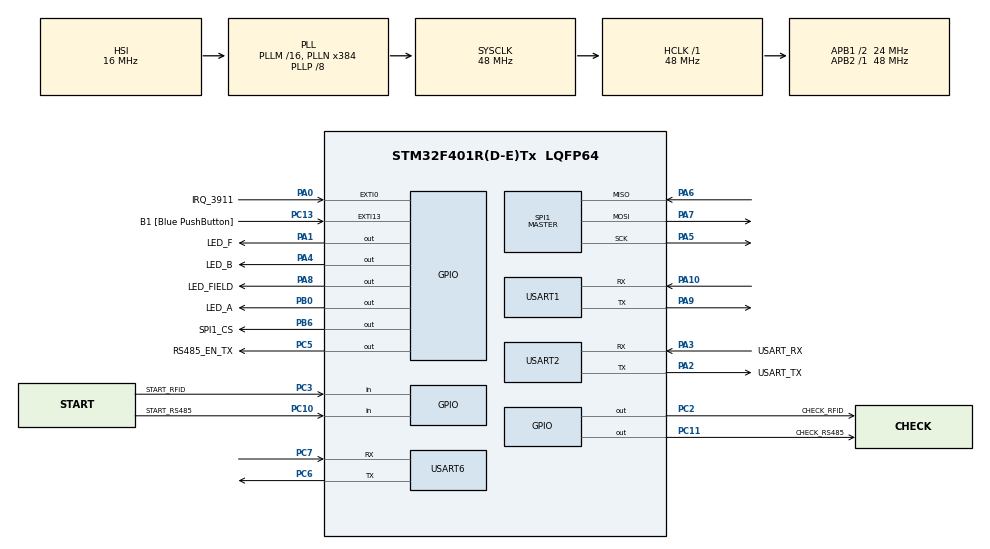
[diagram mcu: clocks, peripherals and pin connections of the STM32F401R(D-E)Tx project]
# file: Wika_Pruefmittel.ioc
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Dma.Request0=USART1_RX
Dma.Request1=USART2_RX
Dma.Request2=USART6_RX
Dma.USART1_RX.0.Direction=DMA_PERIPH_TO_MEMORY
Dma.USART1_RX.0.FIFOMode=DMA_FIFOMODE_DISABLE
Dma.USART1_RX.0.Instance=DMA2_Stream2
Dma.USART1_RX.0.MemDataAlignment=DMA_MDATAALIGN_BYTE
Dma.USART1_RX.0.MemInc=DMA_MINC_ENABLE
Dma.USART1_RX.0.Mode=DMA_NORMAL
Dma.USART1_RX.0.PeriphDataAlignment=DMA_PDATAALIGN_BYTE
Dma.USART1_RX.0.PeriphInc=DMA_PINC_DISABLE
Dma.USART1_RX.0.Priority=DMA_PRIORITY_LOW
Dma.USART2_RX.1.Direction=DMA_PERIPH_TO_MEMORY
Dma.USART2_RX.1.FIFOMode=DMA_FIFOMODE_DISABLE
Dma.USART2_RX.1.Instance=DMA1_Stream5
Dma.USART2_RX.1.MemDataAlignment=DMA_MDATAALIGN_BYTE
Dma.USART2_RX.1.MemInc=DMA_MINC_ENABLE
Dma.USART2_RX.1.Mode=DMA_NORMAL
Dma.USART2_RX.1.PeriphDataAlignment=DMA_PDATAALIGN_BYTE
Dma.USART2_RX.1.PeriphInc=DMA_PINC_DISABLE
Dma.USART2_RX.1.Priority=DMA_PRIORITY_LOW
Dma.USART6_RX.2.Direction=DMA_PERIPH_TO_MEMORY
Dma.USART6_RX.2.FIFOMode=DMA_FIFOMODE_DISABLE
Dma.USART6_RX.2.Instance=DMA2_Stream1
Dma.USART6_RX.2.MemDataAlignment=DMA_MDATAALIGN_BYTE
Dma.USART6_RX.2.MemInc=DMA_MINC_ENABLE
Dma.USART6_RX.2.Mode=DMA_NORMAL
Dma.USART6_RX.2.PeriphDataAlignment=DMA_PDATAALIGN_BYTE
Dma.USART6_RX.2.PeriphInc=DMA_PINC_DISABLE
Dma.USART6_RX.2.Priority=DMA_PRIORITY_LOW
Mcu.Family=STM32F4
Mcu.Name=STM32F401R(D-E)Tx
Mcu.Package=LQFP64
NVIC.DMA1_Stream5_IRQn=true\:0\:0\:false\:false\:true\:false\:true\:true
NVIC.DMA2_Stream1_IRQn=true\:0\:0\:false\:false\:true\:false\:true\:true
NVIC.DMA2_Stream2_IRQn=true\:0\:0\:false\:false\:true\:false\:true\:true
NVIC.EXTI0_IRQn=true\:0\:0\:false\:false\:true\:true\:true\:true
NVIC.PriorityGroup=NVIC_PRIORITYGROUP_0
NVIC.USART1_IRQn=true\:0\:0\:false\:false\:true\:true\:true\:true
NVIC.USART2_IRQn=true\:0\:0\:false\:false\:true\:true\:true\:true
PA0-WKUP.GPIO_Label=IRQ_3911
PA0-WKUP.Signal=GPXTI0
PA1.GPIO_Label=LED_F
PA1.Signal=GPIO_Output
PA10.Mode=Asynchronous
PA10.Signal=USART1_RX
PA13.GPIO_Label=TMS
PA13.Mode=Serial_Wire
PA13.Signal=SYS_JTMS-SWDIO
PA14.GPIO_Label=TCK
PA14.Mode=Serial_Wire
PA14.Signal=SYS_JTCK-SWCLK
PA2.GPIO_Label=USART_TX
PA2.GPIO_Mode=GPIO_MODE_AF_PP
PA2.GPIO_PuPd=GPIO_NOPULL
PA2.GPIO_Speed=GPIO_SPEED_FREQ_LOW
PA2.Mode=Asynchronous
PA2.Signal=USART2_TX
PA3.GPIO_Label=USART_RX
PA3.GPIO_Mode=GPIO_MODE_AF_PP
PA3.GPIO_PuPd=GPIO_NOPULL
PA3.GPIO_Speed=GPIO_SPEED_FREQ_LOW
PA3.Mode=Asynchronous
PA3.Signal=USART2_RX
PA4.GPIO_Label=LED_B
PA4.Signal=GPIO_Output
PA5.Mode=Full_Duplex_Master
PA5.Signal=SPI1_SCK
PA6.Mode=Full_Duplex_Master
PA6.Signal=SPI1_MISO
PA7.Mode=Full_Duplex_Master
PA7.Signal=SPI1_MOSI
PA8.GPIO_Label=LED_FIELD
PA8.Signal=GPIO_Output
PA9.Mode=Asynchronous
PA9.Signal=USART1_TX
PB0.GPIO_Label=LED_A
PB0.Signal=GPIO_Output
PB3.GPIO_Label=SWO
PB3.Signal=SYS_JTDO-SWO
PB6.GPIO_Label=SPI1_CS
PB6.Signal=GPIO_Output
PC10.GPIO_Label=START_RS485
PC10.Signal=GPIO_Input
PC11.GPIO_Label=CHECK_RS485
PC11.Signal=GPIO_Output
PC13-ANTI_TAMP.GPIO_Label=B1 [Blue PushButton]
PC13-ANTI_TAMP.GPIO_ModeDefaultEXTI=GPIO_MODE_IT_FALLING
PC13-ANTI_TAMP.GPIO_PuPd=GPIO_NOPULL
PC13-ANTI_TAMP.Signal=GPXTI13
PC14-OSC32_IN.Mode=LSE-External-Oscillator
PC14-OSC32_IN.Signal=RCC_OSC32_IN
PC15-OSC32_OUT.Mode=LSE-External-Oscillator
PC15-OSC32_OUT.Signal=RCC_OSC32_OUT
PC2.GPIO_Label=CHECK_RFID
PC2.Signal=GPIO_Output
PC3.GPIO_Label=START_RFID
PC3.Signal=GPIO_Input
PC5.GPIO_Label=RS485_EN_TX
PC5.Signal=GPIO_Output
PC6.Mode=Asynchronous
PC6.Signal=USART6_TX
PC7.Mode=Asynchronous
PC7.Signal=USART6_RX
PH0\ -\ OSC_IN.Signal=RCC_OSC_IN
PH1\ -\ OSC_OUT.Signal=RCC_OSC_OUT
ProjectManager.HeapSize=0x200
ProjectManager.StackSize=0x400
ProjectManager.TargetToolchain=STM32CubeIDE
RCC.48MHZClocksFreq_Value=54857142.85714286
RCC.AHBFreq_Value=48000000
RCC.APB1CLKDivider=RCC_HCLK_DIV2
RCC.APB1Freq_Value=24000000
RCC.APB1TimFreq_Value=48000000
RCC.APB2Freq_Value=48000000
RCC.APB2TimFreq_Value=48000000
RCC.CortexFreq_Value=48000000
RCC.HCLKFreq_Value=48000000
RCC.HSE_VALUE=8000000
RCC.HSI_VALUE=16000000
RCC.PLLN=384
RCC.PLLP=RCC_PLLP_DIV8
RCC.PLLQ=7
RCC.SYSCLKFreq_VALUE=48000000
RCC.SYSCLKSource=RCC_SYSCLKSOURCE_PLLCLK
RCC.VCOOutputFreq_Value=384000000
SPI1.BaudRatePrescaler=SPI_BAUDRATEPRESCALER_16
SPI1.CLKPhase=SPI_PHASE_2EDGE
SPI1.Direction=SPI_DIRECTION_2LINES
SPI1.Mode=SPI_MODE_MASTER
SPI1.VirtualType=VM_MASTER
USART1.VirtualMode=VM_ASYNC
USART2.VirtualMode=VM_ASYNC
USART6.VirtualMode=VM_ASYNC
board=NUCLEO-F401RE

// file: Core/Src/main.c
/* USER CODE BEGIN Header */
/**
  ******************************************************************************
  * @file           : main.c
  * @brief          : Main program body
  ******************************************************************************
  * @attention
  *
  * Copyright (c) 2023 STMicroelectronics.
  * All rights reserved.
  *
  * This software is licensed under terms that can be found in the LICENSE file
  * in the root directory of this software component.
  * If no LICENSE file comes with this software, it is provided AS-IS.
  *
  ******************************************************************************
  */
/* USER CODE END Header */
#include "main.h"

/* USER CODE BEGIN Includes */
#include "utils.h"
//#include "platform.h"
#include "logger.h"
#include "st_errno.h"
#include "rfal_rf.h"
#include "rfal_analogConfig.h"
#include "rfal_nfc.h"
/* USER CODE END Includes */

/* USER CODE BEGIN PD */
#define RX_BUFFER_SIZE 	100
#define START_RS485_CMD "RS485_TEST_123"
#define RS485_ANSWER 	"RS485_TEST_SUCCESS"

#define TESTCYCLE_TIME 1000
/* USER CODE END PD */

SPI_HandleTypeDef hspi1;

UART_HandleTypeDef huart1;
UART_HandleTypeDef huart2;
UART_HandleTypeDef huart6;
DMA_HandleTypeDef hdma_usart1_rx;
DMA_HandleTypeDef hdma_usart2_rx;
DMA_HandleTypeDef hdma_usart6_rx;

/* USER CODE BEGIN PV */
/* Private variables ---------------------------------------------------------*/
#define SPI_TIMEOUT   1000
uint8_t globalCommProtectCnt = 0;
SPI_HandleTypeDef *pSpi = NULL;

/* P2P communication data */
static uint8_t NFCID3[] = {0x01, 0xFE, 0x03, 0x04, 0x05, 0x06, 0x07, 0x08, 0x09, 0x0A};
static uint8_t GB[] = {0x46, 0x66, 0x6d, 0x01, 0x01, 0x11, 0x02, 0x02, 0x07, 0x80, 0x03, 0x02, 0x00, 0x03, 0x04, 0x01, 0x32, 0x07, 0x01, 0x03};

static uint32_t rfidCycle_SysTick = 0;
static uint32_t rs485Cycle_SysTick = 0;

static uint8_t rxBuffer1[RX_BUFFER_SIZE];
static uint8_t rxBuffer2[RX_BUFFER_SIZE];
static uint8_t rxBuffer6[RX_BUFFER_SIZE];
/* USER CODE END PV */

void SystemClock_Config(void);
static void MX_GPIO_Init(void);
static void MX_DMA_Init(void);
static void MX_USART2_UART_Init(void);
static void MX_SPI1_Init(void);
static void MX_USART1_UART_Init(void);
static void MX_USART6_UART_Init(void);
/* USER CODE BEGIN PFP */

static void diesdasNotif( rfalNfcState st )
{
    uint8_t       devCnt;
    rfalNfcDevice *dev;

    if( st == RFAL_NFC_STATE_WAKEUP_MODE )
    {
        platformLog("Wake Up mode started \r\n");
    }
    else if( st == RFAL_NFC_STATE_POLL_TECHDETECT )
    {
        platformLog("Wake Up mode terminated. Polling for devices \r\n");
    }
    else if( st == RFAL_NFC_STATE_POLL_SELECT )
    {
        /* Multiple devices were found, activate first of them */
        rfalNfcGetDevicesFound( &dev, &devCnt );
        rfalNfcSelect( 0 );

        platformLog("Multiple Tags detected: %d \r\n", devCnt);
    }
}

/* USER CODE END PFP */

/* USER CODE BEGIN 0 */

HAL_StatusTypeDef spiTxRx(const uint8_t *txData, uint8_t *rxData, uint16_t length)
{
    if(pSpi == NULL)
    {
        return HAL_ERROR;
    }

    if( (txData != NULL) && (rxData == NULL) )
    {
        return HAL_SPI_Transmit(pSpi, (uint8_t*)txData, length, SPI_TIMEOUT);
    }
    else if( (txData == NULL) && (rxData != NULL) )
    {
        return HAL_SPI_Receive(pSpi, rxData, length, SPI_TIMEOUT);
    }

    return HAL_SPI_TransmitReceive(pSpi, (uint8_t*)txData, rxData, length, SPI_TIMEOUT);
}

void spiInit(SPI_HandleTypeDef *hspi)
{
    pSpi = hspi;

    /* enabling SPI block will put SCLK to output, guaranteeing proper state when spiSelect() gets called */
    __HAL_SPI_ENABLE(hspi);
}

uint16_t rfalInit(rfalNfcDiscoverParam *pDiscParam){

	ReturnCode err;
	err = rfalNfcInitialize();
	if( err == ERR_NONE )
	{
		  pDiscParam->maxBR 		= RFAL_BR_106;

		  pDiscParam->compMode      = RFAL_COMPLIANCE_MODE_NFC;
		  pDiscParam->devLimit      = 1U;
		  pDiscParam->nfcfBR        = RFAL_BR_212;
		  pDiscParam->ap2pBR        = RFAL_BR_424;

		  ST_MEMCPY( &pDiscParam->nfcid3, NFCID3, sizeof(NFCID3) );
		  ST_MEMCPY( &pDiscParam->GB, GB, sizeof(GB) );
		  pDiscParam->GBLen         = sizeof(GB);

		  pDiscParam->notifyCb             = diesdasNotif;
		  pDiscParam->totalDuration        = 1000U;
		  pDiscParam->wakeupEnabled        = false;
		  pDiscParam->wakeupConfigDefault  = true;
		  pDiscParam->techs2Find           = ( RFAL_NFC_POLL_TECH_A | RFAL_NFC_POLL_TECH_B | RFAL_NFC_POLL_TECH_F | RFAL_NFC_POLL_TECH_V | RFAL_NFC_POLL_TECH_ST25TB | RFAL_NFC_POLL_TECH_AP2P );
	}
	return err;
}

uint8_t checkNFC(rfalNfcDiscoverParam *pDiscParam, rfalNfcDevice *pNfcDevice, uint8_t discoveryStarted){
	//uint8_t devUID[RFAL_NFCV_UID_LEN];
	if(HAL_GetTick() >= rfidCycle_SysTick){
		rfalNfcWorker();                                    // Run RFAL worker periodically

		if(!discoveryStarted){
			rfalNfcDeactivate( false );
			rfalNfcDiscover( pDiscParam );

			discoveryStarted = 1;
		}else{
			HAL_GPIO_WritePin(CHECK_RFID_GPIO_Port, CHECK_RFID_Pin, GPIO_PIN_RESET);
			if( rfalNfcIsDevActivated( rfalNfcGetState() ) )
			{
				rfalNfcGetActiveDevice( &pNfcDevice );
				if(pNfcDevice->type == RFAL_NFC_LISTEN_TYPE_NFCV){
					HAL_GPIO_WritePin(CHECK_RFID_GPIO_Port, CHECK_RFID_Pin, GPIO_PIN_SET);
	                //ST_MEMCPY( devUID, pNfcDevice->nfcid, pNfcDevice->nfcidLen );   /* Copy the UID into local var */
	                //REVERSE_BYTES( devUID, RFAL_NFCV_UID_LEN );                 /* Reverse the UID for display purposes */
	                //platformLog("ISO15693/NFC-V card found. UID: %s\r\n", hex2Str(devUID, RFAL_NFCV_UID_LEN));
				}
				rfalNfcDeactivate( false );
				discoveryStarted = 0;
				rfidCycle_SysTick = HAL_GetTick() + TESTCYCLE_TIME;
			}
		}
	}

	return discoveryStarted;
}

void checkRS485(){
	if(HAL_GetTick() >= rs485Cycle_SysTick){
		HAL_UART_DMAStop(&huart6);

		rxBuffer6[0] = '\0';
		HAL_UART_Receive_DMA(&huart6, rxBuffer6, RX_BUFFER_SIZE);

		HAL_GPIO_WritePin(RS485_EN_TX_GPIO_Port, RS485_EN_TX_Pin, GPIO_PIN_SET);
		HAL_UART_Transmit(&huart6, (uint8_t*)START_RS485_CMD, 14, 10);
		HAL_GPIO_WritePin(RS485_EN_TX_GPIO_Port, RS485_EN_TX_Pin, GPIO_PIN_RESET);

		HAL_GPIO_WritePin(CHECK_RS485_GPIO_Port, CHECK_RS485_Pin, GPIO_PIN_RESET);
		rs485Cycle_SysTick = HAL_GetTick() + TESTCYCLE_TIME;
	}else{
		if(strcmp((char *)rxBuffer6, (char *)RS485_ANSWER) == 0){
			HAL_GPIO_WritePin(CHECK_RS485_GPIO_Port, CHECK_RS485_Pin, GPIO_PIN_SET);
		}
	}
}

/* USER CODE END 0 */

int main(void)
{
  /* USER CODE BEGIN 1 */
  rfalNfcDiscoverParam 	discParam;
  uint8_t              	checkNfcState = 0;
  rfalNfcDevice 		*pNfcDevice = NULL;

  /* USER CODE END 1 */

  /* MCU Configuration--------------------------------------------------------*/

  /* Reset of all peripherals, Initializes the Flash interface and the Systick. */
  HAL_Init();

  /* Configure the system clock */
  SystemClock_Config();

  /* Initialize all configured peripherals */
  MX_GPIO_Init();
  MX_DMA_Init();
  MX_USART2_UART_Init();
  MX_SPI1_Init();
  MX_USART1_UART_Init();
  MX_USART6_UART_Init();
  /* USER CODE BEGIN 2 */

  /* Initialize driver*/
  spiInit(&hspi1);

  /* Initialize log module */
  logUsartInit(&huart2);

  rfalInit(&discParam);

  HAL_UARTEx_ReceiveToIdle_DMA(&huart1, rxBuffer1, RX_BUFFER_SIZE);
  __HAL_DMA_DISABLE_IT(huart1.hdmarx, DMA_IT_HT);
  HAL_UARTEx_ReceiveToIdle_DMA(&huart2, rxBuffer2, RX_BUFFER_SIZE);
  __HAL_DMA_DISABLE_IT(huart2.hdmarx, DMA_IT_HT);
  /* USER CODE END 2 */

  /* Infinite loop */
  /* USER CODE BEGIN WHILE */
  while (1)
  {
	  checkNfcState = checkNFC(&discParam, pNfcDevice, checkNfcState);

	  checkRS485();
    /* USER CODE END WHILE */

  }
}

void SystemClock_Config(void)
{
  RCC_OscInitTypeDef RCC_OscInitStruct = {0};
  RCC_ClkInitTypeDef RCC_ClkInitStruct = {0};

  /** Configure the main internal regulator output voltage
  */
  __HAL_RCC_PWR_CLK_ENABLE();
  __HAL_PWR_VOLTAGESCALING_CONFIG(PWR_REGULATOR_VOLTAGE_SCALE2);

  /** Initializes the RCC Oscillators according to the specified parameters
  * in the RCC_OscInitTypeDef structure.
  */
  RCC_OscInitStruct.OscillatorType = RCC_OSCILLATORTYPE_HSI;
  RCC_OscInitStruct.HSIState = RCC_HSI_ON;
  RCC_OscInitStruct.HSICalibrationValue = RCC_HSICALIBRATION_DEFAULT;
  RCC_OscInitStruct.PLL.PLLState = RCC_PLL_ON;
  RCC_OscInitStruct.PLL.PLLSource = RCC_PLLSOURCE_HSI;
  RCC_OscInitStruct.PLL.PLLM = 16;
  RCC_OscInitStruct.PLL.PLLN = 384;
  RCC_OscInitStruct.PLL.PLLP = RCC_PLLP_DIV8;
  RCC_OscInitStruct.PLL.PLLQ = 7;
  if (HAL_RCC_OscConfig(&RCC_OscInitStruct) != HAL_OK)
  {
    Error_Handler();
  }

  /** Initializes the CPU, AHB and APB buses clocks
  */
  RCC_ClkInitStruct.ClockType = RCC_CLOCKTYPE_HCLK|RCC_CLOCKTYPE_SYSCLK
                              |RCC_CLOCKTYPE_PCLK1|RCC_CLOCKTYPE_PCLK2;
  RCC_ClkInitStruct.SYSCLKSource = RCC_SYSCLKSOURCE_PLLCLK;
  RCC_ClkInitStruct.AHBCLKDivider = RCC_SYSCLK_DIV1;
  RCC_ClkInitStruct.APB1CLKDivider = RCC_HCLK_DIV2;
  RCC_ClkInitStruct.APB2CLKDivider = RCC_HCLK_DIV1;

  if (HAL_RCC_ClockConfig(&RCC_ClkInitStruct, FLASH_LATENCY_1) != HAL_OK)
  {
    Error_Handler();
  }
}

static void MX_SPI1_Init(void)
{

  /* SPI1 parameter configuration*/
  hspi1.Instance = SPI1;
  hspi1.Init.Mode = SPI_MODE_MASTER;
  hspi1.Init.Direction = SPI_DIRECTION_2LINES;
  hspi1.Init.DataSize = SPI_DATASIZE_8BIT;
  hspi1.Init.CLKPolarity = SPI_POLARITY_LOW;
  hspi1.Init.CLKPhase = SPI_PHASE_2EDGE;
  hspi1.Init.NSS = SPI_NSS_SOFT;
  hspi1.Init.BaudRatePrescaler = SPI_BAUDRATEPRESCALER_16;
  hspi1.Init.FirstBit = SPI_FIRSTBIT_MSB;
  hspi1.Init.TIMode = SPI_TIMODE_DISABLE;
  hspi1.Init.CRCCalculation = SPI_CRCCALCULATION_DISABLE;
  hspi1.Init.CRCPolynomial = 10;
  if (HAL_SPI_Init(&hspi1) != HAL_OK)
  {
    Error_Handler();
  }

}

static void MX_USART1_UART_Init(void)
{

  huart1.Instance = USART1;
  huart1.Init.BaudRate = 115200;
  huart1.Init.WordLength = UART_WORDLENGTH_8B;
  huart1.Init.StopBits = UART_STOPBITS_1;
  huart1.Init.Parity = UART_PARITY_NONE;
  huart1.Init.Mode = UART_MODE_TX_RX;
  huart1.Init.HwFlowCtl = UART_HWCONTROL_NONE;
  huart1.Init.OverSampling = UART_OVERSAMPLING_16;
  if (HAL_UART_Init(&huart1) != HAL_OK)
  {
    Error_Handler();
  }

}

static void MX_USART2_UART_Init(void)
{

  huart2.Instance = USART2;
  huart2.Init.BaudRate = 115200;
  huart2.Init.WordLength = UART_WORDLENGTH_8B;
  huart2.Init.StopBits = UART_STOPBITS_1;
  huart2.Init.Parity = UART_PARITY_NONE;
  huart2.Init.Mode = UART_MODE_TX_RX;
  huart2.Init.HwFlowCtl = UART_HWCONTROL_NONE;
  huart2.Init.OverSampling = UART_OVERSAMPLING_16;
  if (HAL_UART_Init(&huart2) != HAL_OK)
  {
    Error_Handler();
  }

}

static void MX_USART6_UART_Init(void)
{

  huart6.Instance = USART6;
  huart6.Init.BaudRate = 115200;
  huart6.Init.WordLength = UART_WORDLENGTH_8B;
  huart6.Init.StopBits = UART_STOPBITS_1;
  huart6.Init.Parity = UART_PARITY_NONE;
  huart6.Init.Mode = UART_MODE_TX_RX;
  huart6.Init.HwFlowCtl = UART_HWCONTROL_NONE;
  huart6.Init.OverSampling = UART_OVERSAMPLING_16;
  if (HAL_UART_Init(&huart6) != HAL_OK)
  {
    Error_Handler();
  }

}

static void MX_DMA_Init(void)
{

  /* DMA controller clock enable */
  __HAL_RCC_DMA2_CLK_ENABLE();
  __HAL_RCC_DMA1_CLK_ENABLE();

  /* DMA interrupt init */
  /* DMA1_Stream5_IRQn interrupt configuration */
  HAL_NVIC_SetPriority(DMA1_Stream5_IRQn, 0, 0);
  HAL_NVIC_EnableIRQ(DMA1_Stream5_IRQn);
  /* DMA2_Stream1_IRQn interrupt configuration */
  HAL_NVIC_SetPriority(DMA2_Stream1_IRQn, 0, 0);
  HAL_NVIC_EnableIRQ(DMA2_Stream1_IRQn);
  /* DMA2_Stream2_IRQn interrupt configuration */
  HAL_NVIC_SetPriority(DMA2_Stream2_IRQn, 0, 0);
  HAL_NVIC_EnableIRQ(DMA2_Stream2_IRQn);

}

static void MX_GPIO_Init(void)
{
  GPIO_InitTypeDef GPIO_InitStruct = {0};

  /* GPIO Ports Clock Enable */
  __HAL_RCC_GPIOC_CLK_ENABLE();
  __HAL_RCC_GPIOH_CLK_ENABLE();
  __HAL_RCC_GPIOA_CLK_ENABLE();
  __HAL_RCC_GPIOB_CLK_ENABLE();

  /*Configure GPIO pin Output Level */
  HAL_GPIO_WritePin(GPIOC, CHECK_RFID_Pin|RS485_EN_TX_Pin|CHECK_RS485_Pin, GPIO_PIN_RESET);

  /*Configure GPIO pin Output Level */
  HAL_GPIO_WritePin(GPIOA, LED_F_Pin|LED_B_Pin|LED_FIELD_Pin, GPIO_PIN_RESET);

  /*Configure GPIO pin Output Level */
  HAL_GPIO_WritePin(GPIOB, LED_A_Pin|SPI1_CS_Pin, GPIO_PIN_RESET);

  /*Configure GPIO pin : B1_Pin */
  GPIO_InitStruct.Pin = B1_Pin;
  GPIO_InitStruct.Mode = GPIO_MODE_IT_FALLING;
  GPIO_InitStruct.Pull = GPIO_NOPULL;
  HAL_GPIO_Init(B1_GPIO_Port, &GPIO_InitStruct);

  /*Configure GPIO pins : CHECK_RFID_Pin RS485_EN_TX_Pin CHECK_RS485_Pin */
  GPIO_InitStruct.Pin = CHECK_RFID_Pin|RS485_EN_TX_Pin|CHECK_RS485_Pin;
  GPIO_InitStruct.Mode = GPIO_MODE_OUTPUT_PP;
  GPIO_InitStruct.Pull = GPIO_NOPULL;
  GPIO_InitStruct.Speed = GPIO_SPEED_FREQ_LOW;
  HAL_GPIO_Init(GPIOC, &GPIO_InitStruct);

  /*Configure GPIO pins : START_RFID_Pin START_RS485_Pin */
  GPIO_InitStruct.Pin = START_RFID_Pin|START_RS485_Pin;
  GPIO_InitStruct.Mode = GPIO_MODE_INPUT;
  GPIO_InitStruct.Pull = GPIO_NOPULL;
  HAL_GPIO_Init(GPIOC, &GPIO_InitStruct);

  /*Configure GPIO pin : IRQ_3911_Pin */
  GPIO_InitStruct.Pin = IRQ_3911_Pin;
  GPIO_InitStruct.Mode = GPIO_MODE_IT_RISING;
  GPIO_InitStruct.Pull = GPIO_NOPULL;
  HAL_GPIO_Init(IRQ_3911_GPIO_Port, &GPIO_InitStruct);

  /*Configure GPIO pins : LED_F_Pin LED_B_Pin LED_FIELD_Pin */
  GPIO_InitStruct.Pin = LED_F_Pin|LED_B_Pin|LED_FIELD_Pin;
  GPIO_InitStruct.Mode = GPIO_MODE_OUTPUT_PP;
  GPIO_InitStruct.Pull = GPIO_NOPULL;
  GPIO_InitStruct.Speed = GPIO_SPEED_FREQ_LOW;
  HAL_GPIO_Init(GPIOA, &GPIO_InitStruct);

  /*Configure GPIO pins : LED_A_Pin SPI1_CS_Pin */
  GPIO_InitStruct.Pin = LED_A_Pin|SPI1_CS_Pin;
  GPIO_InitStruct.Mode = GPIO_MODE_OUTPUT_PP;
  GPIO_InitStruct.Pull = GPIO_NOPULL;
  GPIO_InitStruct.Speed = GPIO_SPEED_FREQ_LOW;
  HAL_GPIO_Init(GPIOB, &GPIO_InitStruct);

  /* EXTI interrupt init*/
  HAL_NVIC_SetPriority(EXTI0_IRQn, 0, 0);
  HAL_NVIC_EnableIRQ(EXTI0_IRQn);

}

/* USER CODE BEGIN 4 */
void HAL_UARTEx_RxEventCallback(UART_HandleTypeDef *huart, uint16_t Size){
	if(huart == &huart1){
		HAL_UART_Transmit(&huart2, rxBuffer1, Size, 10);
		HAL_UARTEx_ReceiveToIdle_DMA(&huart1, rxBuffer1, RX_BUFFER_SIZE);
		__HAL_DMA_DISABLE_IT(huart1.hdmarx, DMA_IT_HT);
	}
	if(huart == &huart2){
		HAL_UART_Transmit(&huart1, rxBuffer2, Size, 10);
		HAL_UARTEx_ReceiveToIdle_DMA(&huart2, rxBuffer2, RX_BUFFER_SIZE);
		__HAL_DMA_DISABLE_IT(huart2.hdmarx, DMA_IT_HT);
	}
}
/* USER CODE END 4 */

void Error_Handler(void)
{
  __disable_irq();
  while (1)
  {
  }
}
